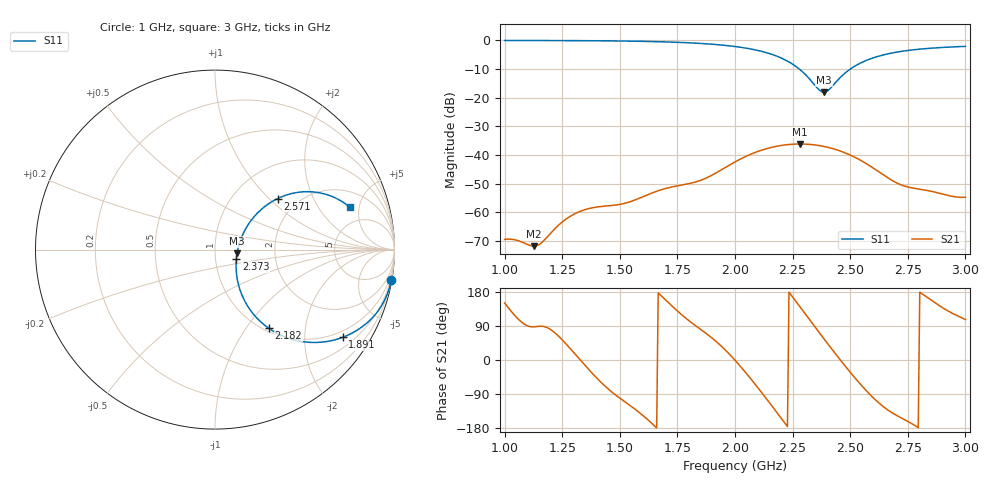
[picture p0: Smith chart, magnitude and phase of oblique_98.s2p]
! TOUCHSTONE file generated by CST MICROWAVE STUDIO
! Date and time: Tue Mar 18 00:01:44 2025
! Project name: oblique.cst
! Parameters = {Tilt=30; Fracture=1; B=12.5; D=160; F=25; Feed=2.85625; L=100; M=50; R=0.384908; S=1; Theta=180; length=57.125; wave=114.25}
! Header version: 2024
! Port assignment regex: !\s*Touchstone port\s*([0-9]+)\s*=\s*(CST MWS port|CST DES external port|CST DES block port)\s*(.+)\s* \(\"(.*)\"\)(\s*mode\s*([0-9]+))?.*
! Touchstone port assignment:
! Touchstone port 1 = CST MWS port 1 ("")
! Touchstone port 2 = CST MWS port 2 ("")
# GHz S DB R 50
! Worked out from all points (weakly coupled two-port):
!   304 points, 1 GHz to 3 GHz, reference 50 ohm
!   highest |S21| = -36.13 dB at 2.281 GHz (marker M1); lowest = -71.8 dB at 1.125 GHz (marker M2)
!   lowest |S11| = -18.1 dB at 2.386 GHz (marker M3), VSWR 1.28, Z = 64 - j2.54 ohm
!   |S11| at or under -10 dB: 2.279 GHz to 2.5 GHz (221.2 MHz wide, 9.25 % of centre)
!   S12 and S22 are empty: the file has one direction only
!   S11 on the Smith chart (normalised r, x): 1 GHz: 0, -12; 1.891 GHz: 0.79, -3.04; 2.182 GHz: 1.05, -1.28; 2.373 GHz: 1.26, -0.13; 2.571 GHz: 1.58, +1.12; 3 GHz: 3.21, +3.99
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1  -0.02 -9.8  -69.40 150.7  -200.00 0.0  -200.00 0.0
1.0462  -0.03 -10.5  -69.56 116.1  -200.00 0.0  -200.00 0.0
1.12541  -0.04 -11.6  -71.76 87.4  -200.00 0.0  -200.00 0.0
1.15842  -0.04 -12.1  -70.71 89.1  -200.00 0.0  -200.00 0.0
1.26403  -0.07 -14.0  -62.47 44.1  -200.00 0.0  -200.00 0.0
1.33663  -0.09 -15.4  -59.35 -5.8  -200.00 0.0  -200.00 0.0
1.52145  -0.23 -19.8  -56.82 -110.0  -200.00 0.0  -200.00 0.0
1.66667  -0.45 -24.4  -52.43 177.0  -200.00 0.0  -200.00 0.0
1.89109  -1.27 -34.5  -47.38 62.5  -200.00 0.0  -200.00 0.0
2.0033  -2.17 -41.5  -42.23 -2.8  -200.00 0.0  -200.00 0.0
2.09571  -3.44 -48.6  -38.83 -70.4  -200.00 0.0  -200.00 0.0
2.18152  -5.49 -55.7  -36.91 -138.2  -200.00 0.0  -200.00 0.0
2.28053  -10.08 -59.8  -36.13 141.4  -200.00 0.0  -200.00 0.0
2.33993  -14.99 -47.9  -36.39 93.1  -200.00 0.0  -200.00 0.0
2.37294  -17.75 -23.3  -36.78 66.5  -200.00 0.0  -200.00 0.0
2.38614  -18.08 -9.0  -36.99 55.9  -200.00 0.0  -200.00 0.0
2.40594  -17.31 11.3  -37.35 40.1  -200.00 0.0  -200.00 0.0
2.49175  -10.51 40.5  -39.68 -26.1  -200.00 0.0  -200.00 0.0
2.57096  -6.94 39.2  -43.02 -81.7  -200.00 0.0  -200.00 0.0
2.66997  -4.58 33.1  -48.26 -134.6  -200.00 0.0  -200.00 0.0
2.74918  -3.52 28.2  -51.10 -161.8  -200.00 0.0  -200.00 0.0
3  -2.09 17.6  -54.70 106.9  -200.00 0.0  -200.00 0.0
